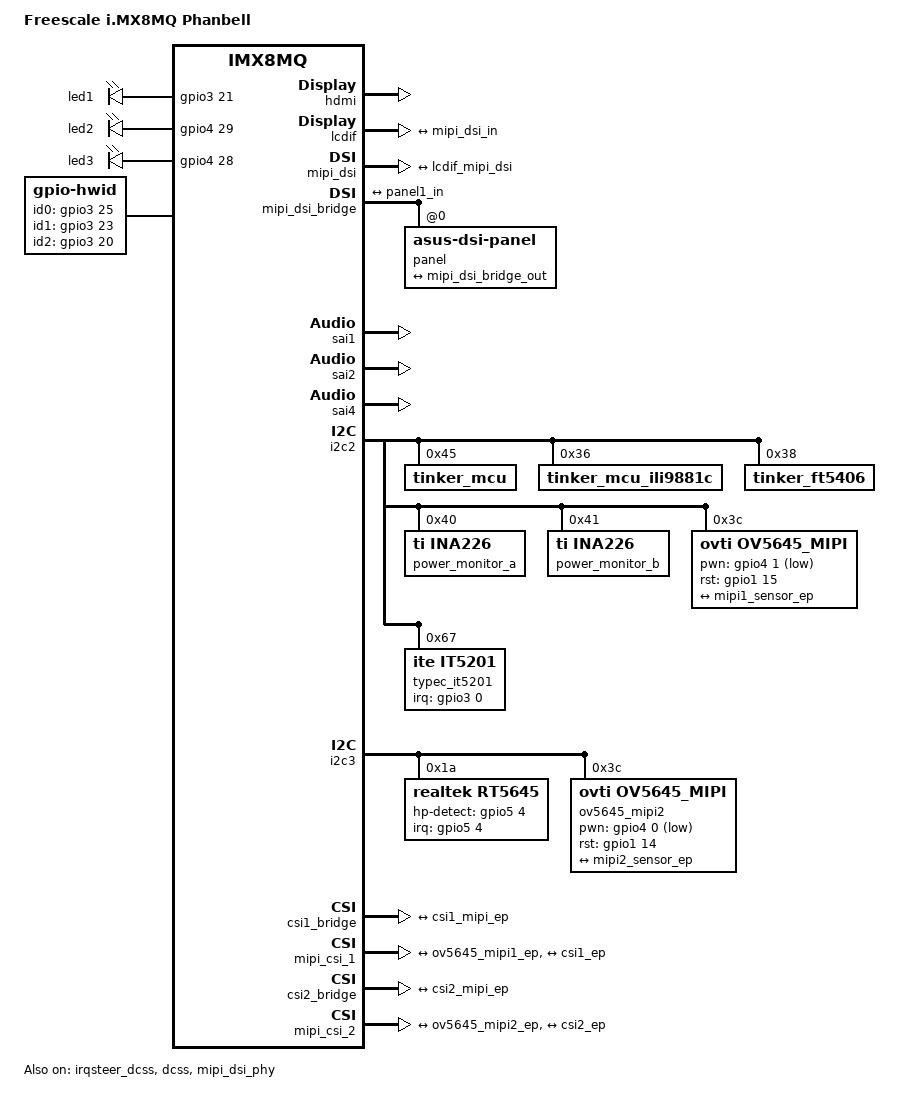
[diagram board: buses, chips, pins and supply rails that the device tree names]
/*
 * Copyright 2018 NXP
 *
 * This program is free software; you can redistribute it and/or
 * modify it under the terms of the GNU General Public License
 * as published by the Free Software Foundation; either version 2
 * of the License, or (at your option) any later version.
 *
 * This program is distributed in the hope that it will be useful,
 * but WITHOUT ANY WARRANTY; without even the implied warranty of
 * MERCHANTABILITY or FITNESS FOR A PARTICULAR PURPOSE.  See the
 * GNU General Public License for more details.
 */

#include "fsl-imx8mq-som.dtsi"

/ {
	firmware {
		android {
			compatible = "android,firmware";
			fstab {
				compatible = "android,fstab";
				vendor {
					compatible = "android,vendor";
					/* if sd, then dev = "/dev/block/platform/30b50000.usdhc/by-name/vendor"; */
					dev = "/dev/block/platform/30b40000.usdhc/by-name/vendor";
					type = "ext4";
					mnt_flags = "ro,barrier=1,inode_readahead_blks=8";
					fsmgr_flags = "wait,slotselect,avb";
				};
			};
			vbmeta {
				/*we need use FirstStageMountVBootV2 if we enable avb*/
				compatible = "android,vbmeta";
				/*parts means the partition witch can be mount in first stage*/
				parts = "vbmeta,boot,system,vendor";
			};
		};
	};
};


/ {
	model = "Freescale i.MX8MQ Phanbell";
	compatible = "fsl,imx8mq-phanbell", "fsl,imx8mq";

	sound-rt5645 {
		compatible = "google,edgetpu-audio-card";
		model = "edgetpu-audio-card";
		audio-cpu = <&sai2>;
		audio-codec = <&rt5645>;
		google,model = "edgetpu-audio-card";
		status = "disabled";
	};

	sound-hdmi {
		compatible = "fsl,imx8mq-evk-cdnhdmi",
				"fsl,imx-audio-cdnhdmi";
		model = "imx-audio-hdmi";
		audio-cpu = <&sai4>;
		protocol = <1>;
		hdmi-out;
		constraint-rate = <44100>,
				<88200>,
				<176400>,
				<32000>,
				<48000>,
				<96000>,
				<192000>;
	};

	sound-ext-card {
		status = "disabled";
	};

	busfreq {
		status = "disabled";
	};

	fan: gpio_fan {
		gpios = <&gpio3 5 GPIO_ACTIVE_LOW>;
		status = "okay";
	};

	gpio-leds {
		compatible = "gpio-leds";

		led1 {
			gpios = <&gpio3 21 GPIO_ACTIVE_HIGH>;
			linux,default-trigger="none";
		};

		led2 {
			gpios = <&gpio4 29 GPIO_ACTIVE_HIGH>;
			linux,default-trigger="none";
		};

		led3 {
			gpios = <&gpio4 28 GPIO_ACTIVE_HIGH>;
			linux,default-trigger="none";
		};
	};

	hwid: gpio-hwid {
		compatible = "gpio-hwid";
		id0-gpios = <&gpio3 25 GPIO_ACTIVE_HIGH>;
		id1-gpios = <&gpio3 23 GPIO_ACTIVE_HIGH>;
		id2-gpios = <&gpio3 20 GPIO_ACTIVE_HIGH>;
	};
};

&iomuxc {
	imx8mq-phanbell {
		pinctrl_sai1: sai1grp {
			fsl,pins = <
					MX8MQ_IOMUXC_SAI1_TXFS_SAI1_TX_SYNC     0xd6
					MX8MQ_IOMUXC_SAI1_TXC_SAI1_TX_BCLK      0xd6
					MX8MQ_IOMUXC_SAI1_MCLK_SAI1_MCLK        0xd6
					MX8MQ_IOMUXC_SAI1_TXD0_SAI1_TX_DATA0    0xd6
					MX8MQ_IOMUXC_SAI1_RXD0_SAI1_RX_DATA0    0xd6
				>;
		};
		pinctrl_sai2: sai2grp {
			fsl,pins = <
					MX8MQ_IOMUXC_SAI2_TXFS_SAI2_TX_SYNC     0xd6
					MX8MQ_IOMUXC_SAI2_TXC_SAI2_TX_BCLK      0xd6
					MX8MQ_IOMUXC_SAI2_MCLK_SAI2_MCLK        0xd6
					MX8MQ_IOMUXC_SAI2_TXD0_SAI2_TX_DATA0    0xd6
					MX8MQ_IOMUXC_SAI2_RXD0_SAI2_RX_DATA0    0xd6
					MX8MQ_IOMUXC_SPDIF_RX_GPIO5_IO4         0xd6
				>;
		};
	};
};

&pwm1 {
	pinctrl-names = "default";
	pinctrl-0 = <&pinctrl_pwm1>;
	status = "disabled";
};

&pwm2 {
	pinctrl-names = "default";
	pinctrl-0 = <&pinctrl_pwm2>;
	status = "disabled";
};

&pwm4 {
	pinctrl-names = "default";
	pinctrl-0 = <&pinctrl_pwm4>;
	status = "disabled";
};

&ecspi1 {
	fsl,spi-num-chipselects = <2>;
	pinctrl-names = "default";
	pinctrl-0 = <&pinctrl_ecspi1 &pinctrl_ecspi1_cs>;
	cs-gpios = <&gpio5 9 GPIO_ACTIVE_HIGH>,
		   <&gpio3 2 GPIO_ACTIVE_HIGH>;
	status = "disabled";

	spidev@0 {
		#address-cells = <1>;
		#size-cells = <1>;
		compatible = "rohm,dh2228fv";
		spi-max-frequency = <20000000>;
		reg = <0>;
		status = "okay";
	};
	spidev@1 {
		#address-cells = <1>;
		#size-cells = <1>;
		compatible = "rohm,dh2228fv";
		spi-max-frequency = <20000000>;
		reg = <1>;
		status = "okay";
	};

};

&iomuxc {
	pinctrl-names = "default";
	pinctrl-0 = <&pinctrl_gpio>;

	imx8mq-phanbell {
		pinctrl_gpio: gpio_ctrlgrp{
			fsl,pins = <
				MX8MQ_IOMUXC_GPIO1_IO06_GPIO1_IO6		0x19
				MX8MQ_IOMUXC_GPIO1_IO07_GPIO1_IO7		0x19
				MX8MQ_IOMUXC_GPIO1_IO08_GPIO1_IO8		0x19
				MX8MQ_IOMUXC_NAND_DATA03_GPIO3_IO9		0x19
				MX8MQ_IOMUXC_NAND_DATA07_GPIO3_IO13		0x19
				MX8MQ_IOMUXC_NAND_READY_B_GPIO3_IO16		0x19
				MX8MQ_IOMUXC_NAND_WE_B_GPIO3_IO17		0x19
				MX8MQ_IOMUXC_ECSPI2_SCLK_GPIO5_IO10		0x19
				MX8MQ_IOMUXC_ECSPI2_MISO_GPIO5_IO12		0x19
				MX8MQ_IOMUXC_ECSPI2_SS0_GPIO5_IO13		0x19
				MX8MQ_IOMUXC_SAI5_RXD0_GPIO3_IO21		0x19
				MX8MQ_IOMUXC_SAI5_RXC_GPIO3_IO20		0x19
				MX8MQ_IOMUXC_SAI5_RXD2_GPIO3_IO23		0x19
				MX8MQ_IOMUXC_SAI5_MCLK_GPIO3_IO25		0x19
				MX8MQ_IOMUXC_UART1_TXD_GPIO5_IO23		0x19
				MX8MQ_IOMUXC_UART1_RXD_GPIO5_IO22		0x19
			>;
		};

		pinctrl_pwm1: pwm1 {
			fsl,pins = <
				MX8MQ_IOMUXC_GPIO1_IO01_PWM1_OUT		0x7f
			>;
		};

		pinctrl_pwm2: pwm2 {
			fsl,pins = <
				MX8MQ_IOMUXC_GPIO1_IO13_PWM2_OUT		0x7f
			>;
		};

		pinctrl_pwm4: pwm4 {
			fsl,pins = <
				MX8MQ_IOMUXC_SAI3_MCLK_PWM4_OUT		0x7f
			>;
		};
		pinctrl_ecspi1: ecspi1grp {
			fsl,pins = <
				MX8MQ_IOMUXC_ECSPI1_SCLK_ECSPI1_SCLK		0x82
				MX8MQ_IOMUXC_ECSPI1_MOSI_ECSPI1_MOSI		0x82
				MX8MQ_IOMUXC_ECSPI1_MISO_ECSPI1_MISO		0x82
			>;
		};
		pinctrl_ecspi1_cs: ecspi1_cs_grp {
			fsl,pins = <
				MX8MQ_IOMUXC_ECSPI1_SS0_GPIO5_IO9		0x82
				MX8MQ_IOMUXC_NAND_CE1_B_GPIO3_IO2		0x82
			>;
		};
		pinctrl_csi1: csi1grp {
			fsl,pins = <
				MX8MQ_IOMUXC_SAI1_RXC_GPIO4_IO1			0x19 /* PWDN */
				MX8MQ_IOMUXC_GPIO1_IO15_GPIO1_IO15		0x19 /* RESETB */
				/* vsync pin mux? can't find in schematic */
			>;
		};
		pinctrl_csi2: csi2grp {
			fsl,pins = <
				MX8MQ_IOMUXC_SAI1_RXFS_GPIO4_IO0		0x19 /* PWDN */
				MX8MQ_IOMUXC_GPIO1_IO14_GPIO1_IO14		0x19 /* RESETB */
			>;
		};
	};
};

&hdmi {
	status = "okay";
};

// &hdmi_cec {
// 	status = "okay";
// };

&irqsteer_dcss {
	status = "okay";
};

&dcss {
	disp-dev = "hdmi_disp";
	status = "okay";
};

&lcdif {
	status = "okay";
	port@0 {
		lcdif_mipi_dsi: mipi-dsi-endpoint {
			remote-endpoint = <&mipi_dsi_in>;
		};
	};
};

&mipi_dsi_phy {
	status = "okay";
};

&mipi_dsi {
	status = "okay";
	as_bridge;
	sync-pol = <1>;
	pwr-delay = <10>;

	port@1 {
		mipi_dsi_in: endpoint {
			remote-endpoint = <&lcdif_mipi_dsi>;
		};
	};
};

&mipi_dsi_bridge {
	status = "okay";
	clock-drop-level = <0>;

	panel@0 {
		compatible = "asus-dsi-panel";
		reg = <0>;
		port {
			panel1_in: endpoint {
				remote-endpoint = <&mipi_dsi_bridge_out>;
			};
		};
	};

	port@1 {
		mipi_dsi_bridge_out: endpoint {
			remote-endpoint = <&panel1_in>;
		};
	};
};

&sai1 {
	pinctrl-names = "default";
	pinctrl-0 = <&pinctrl_sai1>;
	assigned-clocks = <&clk IMX8MQ_CLK_SAI1>;
	assigned-clock-parents = <&clk IMX8MQ_AUDIO_PLL1_OUT>;
	assigned-clock-rates = <24576000>;
	status = "okay";
};

		// <&clk IMX8MQ_CLK_SAI2_DIV>;
	// assigned-clock-rates = <0>, <24576000>;
&sai2 {
	pinctrl-names = "default";
	pinctrl-0 = <&pinctrl_sai2>;
	assigned-clocks =
		<&clk IMX8MQ_CLK_SAI2>;
	assigned-clock-parents = <&clk IMX8MQ_AUDIO_PLL1_OUT>;
	assigned-clock-rates = <24576000>;
	status = "okay";

	clocks = <&clk IMX8MQ_CLK_SAI2_IPG>, <&clk IMX8MQ_CLK_DUMMY>,
		<&clk IMX8MQ_CLK_SAI2_ROOT>, <&clk IMX8MQ_CLK_DUMMY>,
		<&clk IMX8MQ_CLK_DUMMY>, <&clk IMX8MQ_AUDIO_PLL1_OUT>,
		<&clk IMX8MQ_AUDIO_PLL2_OUT>;
	clock-names = "bus", "mclk0", "mclk1", "mclk2", "mclk3", "pll8k", "pll11k";
};

&sai4 {
	assigned-clocks = <&clk IMX8MQ_CLK_SAI4>;
	assigned-clock-parents = <&clk IMX8MQ_AUDIO_PLL1_OUT>;
	assigned-clock-rates = <24576000>;
	clocks = <&clk IMX8MQ_CLK_SAI4_IPG>, <&clk IMX8MQ_CLK_DUMMY>,
		<&clk IMX8MQ_CLK_SAI4_ROOT>, <&clk IMX8MQ_CLK_DUMMY>,
		<&clk IMX8MQ_CLK_DUMMY>, <&clk IMX8MQ_AUDIO_PLL1_OUT>,
		<&clk IMX8MQ_AUDIO_PLL2_OUT>;
	clock-names = "bus", "mclk0", "mclk1", "mclk2", "mclk3", "pll8k", "pll11k";
	status = "okay";
};

&i2c2 {
	status = "okay";

	tinker_mcu: tinker_mcu@45 {
		compatible = "tinker_mcu";
		reg = <0x45>;
	};

	tinker_mcu_ili9881c: tinker_mcu_ili9881c@36 {
		compatible = "tinker_mcu_ili9881c";
		reg = <0x36>;
	};

	tinker_ft5406: tinker_ft5406@38 {
		compatible = "tinker_ft5406";
		reg = <0x38>;
	};

	power_monitor_a: power_monitor_a@40 {
		compatible = "ti,ina226";
		reg = <0x40>;
		shunt-resistor = <68000>;
	};
	power_monitor_b: power_monitor_b@41 {
		compatible = "ti,ina226";
		reg = <0x41>;
		shunt-resistor = <68000>;
	};
};

&usb_dwc3_0 {
	extcon = <&typec_it5201>;
};

&i2c3 {
	status = "okay";

	rt5645: rt5645@1a {
		compatible = "realtek,rt5645";
		reg = <0x1a>;
		clocks = <&clk IMX8MQ_CLK_SAI2_ROOT>;
		clock-names = "mclk1";
		status = "okay";
		realtek,dmic1-data-pin = <2>; // GPIO5
		realtek,jd-mode = <0>;
		realtek,jd-invert;
		realtek,jd-low-volt-enable;
		interrupt-parent = <&gpio5>;
		interrupts = <4 IRQ_TYPE_EDGE_BOTH>;
		hp-detect-gpios = <&gpio5 4 GPIO_ACTIVE_HIGH>;
	};
};

&i2c2 {
	status = "okay";

	ov5645_mipi: ov5645_mipi@3c {
		compatible = "ovti,ov5645_mipi";
		reg = <0x3c>;
		status = "okay";
		pinctrl-names = "default";
		pinctrl-0 = <&pinctrl_csi1>;
		clocks = <&clk IMX8MQ_CLK_DUMMY>;
		clock-names = "csi_mclk";
		csi_id = <0>;
		pwn-gpios = <&gpio4 1 1>;
		rst-gpios = <&gpio1 15 0>;
		mclk = <20000000>;
		mclk_source = <0>;
		ae_target = <52>;
		port {
			ov5645_mipi1_ep: endpoint {
				remote-endpoint = <&mipi1_sensor_ep>;
			};
		};
	};

	typec_it5201: it5201@67 {
		compatible = "ite,it5201";
		pinctrl-names = "default";
		pinctrl-0 = <&pinctrl_typec>;
		reg = <0x67>;
		interrupt-parent = <&gpio3>;
		interrupts = <0 IRQ_TYPE_EDGE_FALLING>;
	};
};

&csi1_bridge {
	fsl,mipi-mode;
	fsl,two-8bit-sensor-mode;
	status = "okay";

	port {
		csi1_ep: endpoint {
			remote-endpoint = <&csi1_mipi_ep>;
		};
	};
};

&mipi_csi_1 {
	#address-cells = <1>;
	#size-cells = <0>;
	status = "okay";
	port {
		mipi1_sensor_ep: endpoint1 {
			remote-endpoint = <&ov5645_mipi1_ep>;
			data-lanes = <1 2>;
		};

		csi1_mipi_ep: endpoint2 {
			remote-endpoint = <&csi1_ep>;
		};
	};
};

&i2c3 {
	status = "okay";

	ov5645_mipi2: ov5645_mipi@3c {
		compatible = "ovti,ov5645_mipi";
		reg = <0x3c>;
		status = "okay";
		pinctrl-names = "default";
		pinctrl-0 = <&pinctrl_csi2>;
		clocks = <&clk IMX8MQ_CLK_DUMMY>;
		clock-names = "csi_mclk";
		csi_id = <0>;
		pwn-gpios = <&gpio4 0 1>;
		rst-gpios = <&gpio1 14 0>;
		mclk = <20000000>;
		mclk_source = <0>;
		ae_target = <52>;
		port {
			ov5645_mipi2_ep: endpoint {
				remote-endpoint = <&mipi2_sensor_ep>;
			};
		};
	};
};

&csi2_bridge {
	fsl,mipi-mode;
	fsl,two-8bit-sensor-mode;
	status = "okay";

	port {
		csi2_ep: endpoint {
			remote-endpoint = <&csi2_mipi_ep>;
		};
	};
};

&mipi_csi_2 {
	#address-cells = <1>;
	#size-cells = <0>;
	status = "okay";
	port {
		mipi2_sensor_ep: endpoint1 {
			remote-endpoint = <&ov5645_mipi2_ep>;
			data-lanes = <1 2>;
		};

		csi2_mipi_ep: endpoint2 {
			remote-endpoint = <&csi2_ep>;
		};
	};
};
